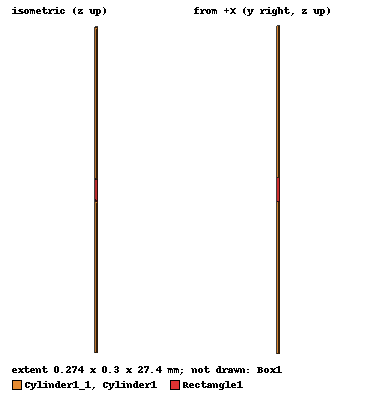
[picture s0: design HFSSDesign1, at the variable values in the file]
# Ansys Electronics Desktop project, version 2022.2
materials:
  vacuum: permittivity=1
  copper: permeability=0.999991 conductivity=58000000
  air: permittivity=1.0006 permeability=1.0000004

design HFSSDesign1 (HFSS, DrivenModal, model units mm)
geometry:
  Cylinder1 [copper] = cylinder(axis=Z, base_centre=(0mm, 0mm, 0.975mm), radius=0.137mm, height=12.725mm)
  Cylinder1_1 [copper] = Cylinder1.duplicate_around_axis(axis=Y, angle=180deg, total=2)
  Rectangle1 [copper] = rectangle(corner=(0mm, -0.15mm, 0.975mm), y_size=0.3mm, z_size=-1.95mm)
  Box1 [air] = box(corner=(-100mm, -100mm, -100mm), size=(200mm, 200mm, 300mm))
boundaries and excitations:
  Rad1: Radiation Objects=Box1
  1: Lumped Port Objects=Rectangle1 Modes{Mode1{IntLine{(0, 0, -0.975) -> (0, 0, 0.975)} CharImp=Zpi RenormImp=73ohm}} Impedance=50ohm
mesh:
  initial mesh: GlobalSurfApproximation{CurvedSurfaceApproxChoice=UseSlider SliderMeshSettings=1}
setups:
  Setup1: HfssDriven Frequency=5GHz MaxDeltaS=0.02 MaximumPasses=15 MinimumPasses=1 MinimumConvergedPasses=1 PercentRefinement=30 BasisOrder=1 PortAccuracy=2 DrivenSolverType="Direct Solver"
    sweep Sweep: 2.5GHz to 7.5GHz, 201 points; Type=Fast SaveFields
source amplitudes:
  1:1: 1W 0deg
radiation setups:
  Infinite Sphere1: Infinite Sphere Theta=0deg..180deg step 2deg Phi=-180deg..180deg step 2deg
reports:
  S Parameter Plot 1: dB(S(1,1)) vs Freq on Setup1 : Sweep
  S Parameter Plot 2: dB(S(1,1)) vs Freq on Setup1 : Sweep
  S Parameter Plot 3: dB(S(1,1)) vs Freq on Setup1 : Sweep
